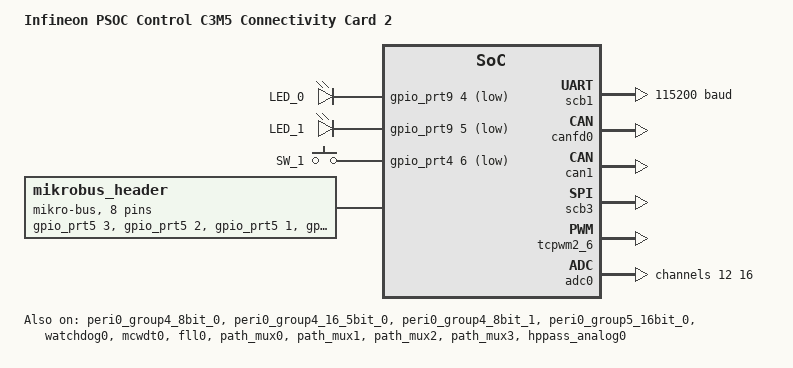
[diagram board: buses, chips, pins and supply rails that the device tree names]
/*
 * SPDX-FileCopyrightText: Copyright (c) 2026 Infineon Technologies AG,
 * SPDX-FileCopyrightText: or an affiliate of Infineon Technologies AG. All rights reserved.
 *
 * SPDX-License-Identifier: Apache-2.0
 */

#include <zephyr/dt-bindings/gpio/gpio.h>
#include <zephyr/dt-bindings/adc/adc.h>
#include <zephyr/dt-bindings/input/input-event-codes.h>

/ {
	model = "Infineon PSOC Control C3M5 Connectivity Card 2";
	compatible = "infineon,kit_psc3m5_cc2", "infineon,PSC3M5";

	aliases {
		led0 = &user_led0;
		led1 = &user_led1;
		sw0 = &user_bt0;
		watchdog0 = &watchdog0;
	};

	leds {
		compatible = "gpio-leds";

		user_led0: led_0 {
			label = "LED_0";
			gpios = <&gpio_prt9 4 GPIO_ACTIVE_LOW>;
		};

		user_led1: led_1 {
			label = "LED_1";
			gpios = <&gpio_prt9 5 GPIO_ACTIVE_LOW>;
		};
	};

	gpio_keys {
		compatible = "gpio-keys";

		user_bt0: user_btn0 {
			label = "SW_1";
			gpios = <&gpio_prt4 6 (GPIO_PULL_UP | GPIO_ACTIVE_LOW)>;
			zephyr,code = <INPUT_KEY_0>;
		};
	};

	/*
	 * mikroBUS socket GPIO nexus.
	 *
	 * Indices 0 (AN) and 1 (RST) are not mapped. AN is an analog net shared
	 * with potentiometer POT1 rather than a GPIO, and RST is tied to 3V3
	 * through a pull-up and not routed to the SoC.
	 *
	 * Indices 10 (SCL) and 11 (SDA) are not mapped either. The 0 ohm links
	 * that would tie the socket's I2C pins to the SCB3 data lines are not
	 * fitted, so they do not reach the SoC.
	 *
	 * Index 6 (PWM) is a plain GPIO. P0.1 has no TCPWM option in this
	 * package, so the socket cannot supply hardware PWM.
	 */
	mikrobus_header: mikrobus-connector {
		compatible = "mikro-bus";
		#gpio-cells = <2>;
		gpio-map-mask = <0xffffffff 0>;
		gpio-map-pass-thru = <0 GPIO_DT_FLAGS_MASK>;
		gpio-map = <2 0 &gpio_prt5 3 0>,	/* CS   */
			   <3 0 &gpio_prt5 2 0>,	/* SCK  */
			   <4 0 &gpio_prt5 1 0>,	/* MISO */
			   <5 0 &gpio_prt5 0 0>,	/* MOSI */
			   <6 0 &gpio_prt0 1 0>,	/* PWM  */
			   <7 0 &gpio_prt0 0 0>,	/* INT  */
			   <8 0 &gpio_prt2 2 0>,	/* RX   */
			   <9 0 &gpio_prt2 3 0>;	/* TX   */
	};
};

&gpio_prt0 {
	status = "okay";
};

&gpio_prt1 {
	status = "okay";
};

&gpio_prt2 {
	status = "okay";
};

&gpio_prt3 {
	status = "okay";
};

&gpio_prt4 {
	status = "okay";
};

&gpio_prt5 {
	status = "okay";
};

&gpio_prt6 {
	status = "okay";
};

&gpio_prt7 {
	status = "okay";
};

&gpio_prt8 {
	status = "okay";
};

&gpio_prt9 {
	status = "okay";
};

/* Console UART on SCB1, routed to the debug probe's virtual COM port. */
uart1: &scb1 {
	compatible = "infineon,uart";
	status = "okay";
	current-speed = <115200>;

	clocks = <&peri0_group4_8bit_0>;

	pinctrl-0 = <&p2_2_scb1_uart_rx &p2_3_scb1_uart_tx>;
	pinctrl-names = "default";
};

&peri0_group4_8bit_0 {
	status = "okay";
	clock-div = <86>;
};

&peri0_group4_16_5bit_0 {
	status = "okay";
	clock-div = <1>;
};

&canfd0 {
	status = "okay";
};

/*
 * CAN FD. The front end is galvanically isolated: the controller signals reach
 * a TLE9371VSJ transceiver through a 2DIB1400F dual digital isolator.
 *
 * The transceiver standby pin is tied to the isolated ground and standby is
 * active high, so the transceiver is permanently in normal mode. No
 * can-transceiver-gpio node and no phys property are required.
 */
&can1 {
	status = "okay";
	clocks = <&peri0_group4_16_5bit_0>;
	pinctrl-0 = <&p6_2_can1_rx &p6_3_can1_tx>;
	pinctrl-names = "default";
};

/*
 * mikroBUS SPI on SCB3.
 *
 * The socket is SPI only: its SCL and SDA pins sit behind unfitted 0 ohm
 * links and do not reach the SoC.
 *
 * The chip select is driven by the SCB rather than as a GPIO.
 */
spi3: &scb3 {
	compatible = "infineon,spi";
	status = "okay";

	#address-cells = <1>;
	#size-cells = <0>;

	clocks = <&peri0_group4_8bit_1>;

	pinctrl-0 = <&p5_0_scb3_spi_m_mosi &p5_1_scb3_spi_m_miso
		     &p5_2_scb3_spi_m_clk &p5_3_scb3_spi_m_select0>;
	pinctrl-names = "default";
};

&peri0_group4_8bit_1 {
	status = "okay";
	clock-div = <1>;
};

/*
 * mikroBUS bus label.
 *
 * mikrobus_i2c is not declared: the socket's I2C pins are isolated from the
 * SoC by unfitted 0 ohm links, so no I2C shield can work here.
 *
 * mikrobus_uart is not declared: the socket's UART is the console SCB.
 */
mikrobus_spi: &scb3 {};

/*
 * PWM output on P9.0.
 *
 * The user LEDs on P9.4 and P9.5 have no TCPWM option, so they cannot be
 * driven by hardware PWM. The pins that do have a direct TCPWM option are the
 * motor 2 inverter gate drive signals on the power board connector:
 *
 *	P9.0  V2_H  pwm2_6		P9.1  V2_L  pwm2_6 complementary
 *	P9.2  W2_H  pwm2_7		P9.3  W2_L  pwm2_7 complementary
 *	P8.2  U2_H  pwm2_5		P8.3  U2_L  pwm2_5 complementary
 *
 * These drive inverter gate drivers. An application must not toggle them
 * while a power board is attached.
 */
&tcpwm2_6 {
	status = "okay";

	pwm2_6: pwm2_6 {
		status = "okay";
		clocks = <&peri0_group5_16bit_0>;
		pinctrl-0 = <&p9_0_pwm2_6>;
		pinctrl-names = "default";
	};
};

/*
 * tcpwm2_6 is in peripheral group 5. This divider gives a period range
 * suitable for LED-rate PWM; an application needing a different range
 * overrides the node in its own overlay.
 */
&peri0_group5_16bit_0 {
	status = "okay";
	clock-div = <9600>;
};

&watchdog0 {
	status = "okay";
};

&mcwdt0 {
	status = "okay";
};

/*
 * No 32.768 kHz watch crystal is fitted on this board. P0.0 and P0.1, which
 * are the fixed WCO pins on the die, are routed to the mikroBUS socket.
 */
&clk_wco {
	status = "disabled";
};

&fll0 {
	clock-frequency = <96000000>;
	status = "okay";
};

&dpll_lp0 {
	status = "okay";
	clock-frequency = <180000000>;

	feedback-div = <45>;
	reference-div = <6>;
	output-div = <2>;
	fraction-div = <0>;
	dco-mode-enable;
};

&dpll_lp1 {
	status = "okay";
	clock-frequency = <240000000>;

	feedback-div = <60>;
	reference-div = <6>;
	output-div = <2>;
	fraction-div = <0>;
	dco-mode-enable;
};

&path_mux0 {
	status = "okay";
};

&path_mux1 {
	status = "okay";
};

&path_mux2 {
	status = "okay";
};

&path_mux3 {
	status = "okay";
};

&clk_hf0 {
	source-path = <IFX_CLK_HF_IN_CLKPATH1>;
	status = "okay";
};

&clk_hf1 {
	source-path = <IFX_CLK_HF_IN_CLKPATH1>;
	status = "okay";
};

/*
 * CLK_HF2 feeds peripheral group 4 (UART, CAN FD, SPI). Sourcing it from
 * dpll_lp1 (240 MHz) divided by 3 gives 80 MHz, which supports CiA 601-3
 * compliant CAN FD bit rates.
 */
&clk_hf2 {
	source-path = <IFX_CLK_HF_IN_CLKPATH2>;
	clock-div = <IFX_CLK_HF_DIVIDE_BY_3>;
	status = "okay";
};

&clk_hf3 {
	source-path = <IFX_CLK_HF_IN_CLKPATH2>;
	status = "okay";
};

/*
 * HPPASS SAR ADC. The board's two potentiometers are the only analog inputs
 * that are user signals; the remaining channels carry motor drive and PFC
 * sense through the power board connector.
 *
 * The SAR has 12 direct channels (0-11) followed by four muxed samplers of
 * four slots each, so the channel number is 12 + 4 * sampler + mux input.
 * POT1 is on AN_B4 (channel 12) and POT2 on AN_B5 (channel 16).
 *
 * POT1 shares its net with the mikroBUS AN pin.
 */
&hppass_analog0 {
	status = "okay";
};

&adc0 {
	status = "okay";
	#address-cells = <1>;
	#size-cells = <0>;

	/* POT1 - AN_B4 */
	channel@c {
		reg = <12>;
		zephyr,acquisition-time = <ADC_ACQ_TIME_DEFAULT>;
		zephyr,gain = "ADC_GAIN_1";
		zephyr,reference = "ADC_REF_INTERNAL";
		zephyr,resolution = <12>;
	};

	/* POT2 - AN_B5 */
	channel@10 {
		reg = <16>;
		zephyr,acquisition-time = <ADC_ACQ_TIME_DEFAULT>;
		zephyr,gain = "ADC_GAIN_1";
		zephyr,reference = "ADC_REF_INTERNAL";
		zephyr,resolution = <12>;
	};
};
